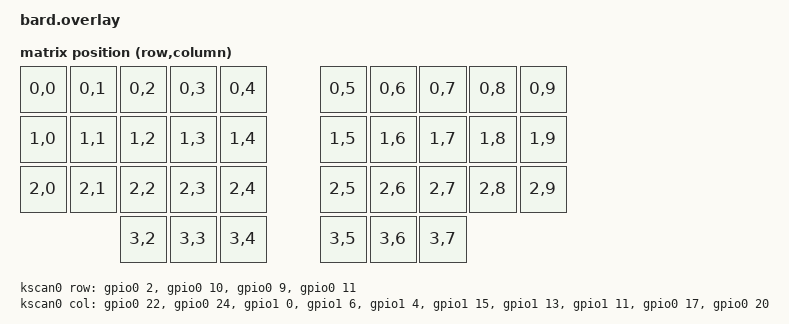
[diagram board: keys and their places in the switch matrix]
#include "bard-layouts.dtsi"
#include <dt-bindings/zmk/matrix_transform.h> // Put this with the other includes at the top of your overlay

/ {
    kscan0: kscan0 {
        compatible = "zmk,kscan-gpio-matrix";
        diode-direction = "col2row";
        wakeup-source;

        row-gpios = <&gpio0 2  (GPIO_ACTIVE_HIGH | GPIO_PULL_DOWN)>, //ROW0
                    <&gpio0 10 (GPIO_ACTIVE_HIGH | GPIO_PULL_DOWN)>, //ROW1
                    <&gpio0 9  (GPIO_ACTIVE_HIGH | GPIO_PULL_DOWN)>, //ROW2
                    <&gpio0 11 (GPIO_ACTIVE_HIGH | GPIO_PULL_DOWN)>; //ROW3

        col-gpios = <&gpio0 22 GPIO_ACTIVE_HIGH>, //COL0
                    <&gpio0 24 GPIO_ACTIVE_HIGH>, //COL1
                    <&gpio1 0  GPIO_ACTIVE_HIGH>, //COL2
                    <&gpio1 6  GPIO_ACTIVE_HIGH>, //COL3
                    <&gpio1 4  GPIO_ACTIVE_HIGH>, //COL4
                    <&gpio1 15 GPIO_ACTIVE_HIGH>, //COL5
                    <&gpio1 13 GPIO_ACTIVE_HIGH>, //COL6
                    <&gpio1 11 GPIO_ACTIVE_HIGH>, //COL7
                    <&gpio0 17 GPIO_ACTIVE_HIGH>, //COL8
                    <&gpio0 20 GPIO_ACTIVE_HIGH>; //COL9

    };
};

/ {
    default_transform: keymap_transform0 {

        compatible = "zmk,matrix-transform";
        columns = <10>;
        rows = <4>;

    // | SW1  | SW4  | SW7  | SW11 | SW15 |   | SW19 | SW23 | SW27 | SW31 | SW34 |
    // | SW2  | SW5  | SW8  | SW12 | SW16 |   | SW20 | SW24 | SW28 | SW32 | SW35 |
    // | SW3  | SW6  | SW9  | SW13 | SW17 |   | SW21 | SW25 | SW29 | SW33 | SW36 |
    //               | SW10 | SW14 | SW18 |   | SW22 | SW26 | SW30 |
        map = <
    RC(0,0) RC(0,1) RC(0,2) RC(0,3) RC(0,4)   RC(0,5) RC(0,6) RC(0,7) RC(0,8) RC(0,9)
    RC(1,0) RC(1,1) RC(1,2) RC(1,3) RC(1,4)   RC(1,5) RC(1,6) RC(1,7) RC(1,8) RC(1,9)
    RC(2,0) RC(2,1) RC(2,2) RC(2,3) RC(2,4)   RC(2,5) RC(2,6) RC(2,7) RC(2,8) RC(2,9)
                    RC(3,2) RC(3,3) RC(3,4)   RC(3,5) RC(3,6) RC(3,7)
        >;
    };
};

/ {
    chosen {
        zmk,physical-layout = &physical_layout0;
        // Other chosen items
    };
};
